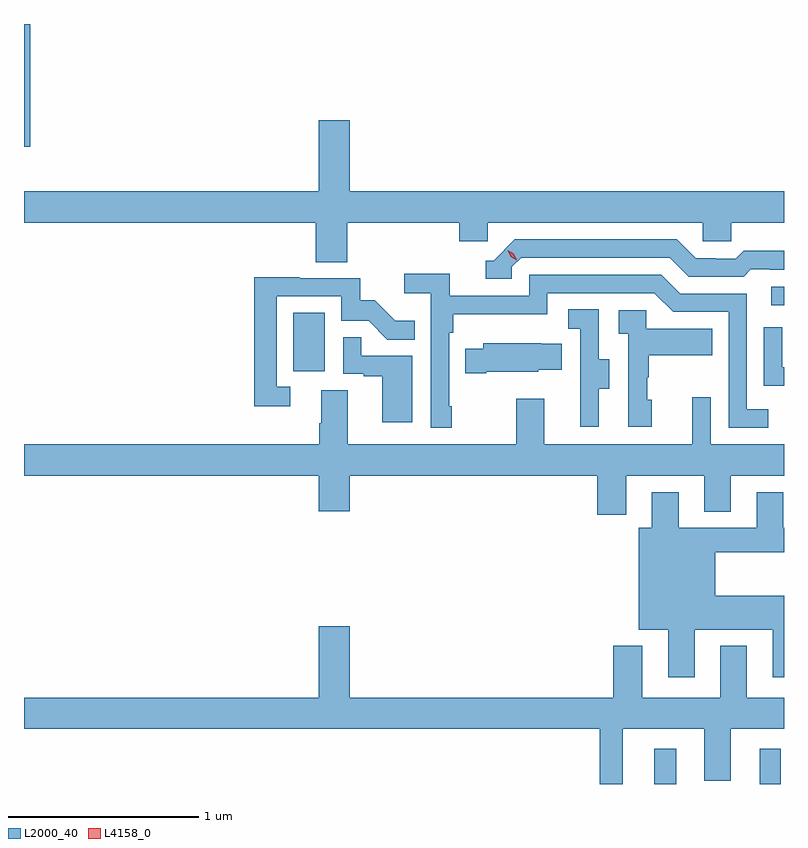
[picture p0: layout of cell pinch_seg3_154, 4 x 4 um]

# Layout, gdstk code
import gdstk
lib = gdstk.Library(unit=1e-6, precision=1e-09)
def R(c, l, rs):  # rectangles x0, y0, x1, y1
    for r in rs: c.add(gdstk.rectangle(r[:2], r[2:], *l))
def P(c, l, *ps):  # polygons
    for p in ps: c.add(gdstk.Polygon(p, *l))
L2000_40 = (2000, 40)
L4158_0 = (4158, 0)

pinch_seg3_154 = lib.new_cell('pinch_seg3_154')
R(pinch_seg3_154, L2000_40, [(1143.797,721.937,1143.913,722.122), (1144.352,721.937,1144.462,722.122), (1141.898,724.11,1142.062,724.417), (1144.413,724.458,1144.48,724.554), (1140.48,725.292,1140.514,725.937)])
P(pinch_seg3_154, L2000_40, [(1142.18,724.892),(1142.771,724.892),(1142.771,724.794),(1142.922,724.794),(1142.922,724.892),(1144.053,724.892),(1144.053,724.794),(1144.203,724.794),(1144.203,724.892),(1144.48,724.892),(1144.48,725.056),(1142.194,725.056),(1142.194,725.431),(1142.03,725.431),(1142.03,725.056),(1140.48,725.056),(1140.48,724.892),(1142.015,724.892),(1142.015,724.684),(1142.18,724.684)],
  [(1143.048,724.659),(1143.096,724.707),(1143.879,724.707),(1143.978,724.608),(1144.267,724.608),(1144.306,724.647),(1144.405,724.647),(1144.405,724.644),(1144.48,724.644),(1144.48,724.744),(1144.267,724.744),(1144.225,724.701),(1144.122,724.701),(1144.122,724.704),(1144.015,724.704),(1143.916,724.803),(1143.063,724.803),(1142.952,724.692),(1142.909,724.692),(1142.909,724.596),(1143.048,724.596)],
  [(1142.731,723.925),(1142.718,723.925),(1142.718,724.313),(1142.738,724.313),(1142.738,724.409),(1143.234,724.409),(1143.234,724.521),(1143.798,724.521),(1143.897,724.422),(1144.188,724.422),(1144.188,723.813),(1144.397,723.813),(1144.397,723.909),(1144.284,723.909),(1144.284,724.518),(1143.934,724.518),(1143.835,724.617),(1143.138,724.617),(1143.138,724.506),(1142.72,724.506),(1142.72,724.622),(1142.481,724.622),(1142.481,724.52),(1142.622,724.52),(1142.622,723.813),(1142.731,723.813)],
  [(1141.882,724.029),(1141.809,724.029),(1141.809,724.503),(1142.151,724.503),(1142.151,724.374),(1142.295,724.374),(1142.393,724.276),(1142.537,724.276),(1142.537,724.375),(1142.433,724.375),(1142.326,724.482),(1142.25,724.482),(1142.25,724.599),(1141.931,724.599),(1141.931,724.604),(1141.693,724.604),(1141.693,723.924),(1141.882,723.924)],
  [(1143.505,724.018),(1143.559,724.018),(1143.559,724.173),(1143.504,724.173),(1143.504,724.436),(1143.345,724.436),(1143.345,724.333),(1143.408,724.333),(1143.408,724.029),(1143.407,724.029),(1143.407,723.816),(1143.505,723.816)],
  [(1143.784,723.96),(1143.759,723.96),(1143.759,724.079),(1143.769,724.079),(1143.769,724.193),(1144.103,724.193),(1144.103,724.333),(1143.756,724.333),(1143.756,724.431),(1143.609,724.431),(1143.609,724.307),(1143.66,724.307),(1143.66,723.816),(1143.784,723.816)],
  [(1144.48,724.13),(1144.47,724.13),(1144.47,724.342),(1144.374,724.342),(1144.374,724.032),(1144.48,724.032)],
  [(1142.524,724.191),(1142.255,724.191),(1142.255,724.289),(1142.16,724.289),(1142.16,724.095),(1142.267,724.095),(1142.267,724.083),(1142.366,724.083),(1142.366,723.84),(1142.524,723.84)],
  [(1142.914,724.106),(1143.186,724.106),(1143.186,724.118),(1143.311,724.118),(1143.311,724.255),(1143.203,724.255),(1143.203,724.258),(1142.897,724.258),(1142.897,724.228),(1142.803,724.228),(1142.803,724.099),(1142.914,724.099)],
  [(1143.649,723.56),(1144.061,723.56),(1144.061,723.371),(1144.201,723.371),(1144.201,723.56),(1144.48,723.56),(1144.48,723.724),(1144.095,723.724),(1144.095,723.973),(1143.998,723.973),(1143.998,723.724),(1143.217,723.724),(1143.217,723.964),(1143.07,723.964),(1143.07,723.724),(1142.185,723.724),(1142.185,724.01),(1142.045,724.01),(1142.045,723.836),(1142.033,723.836),(1142.033,723.724),(1140.48,723.724),(1140.48,723.56),(1142.03,723.56),(1142.03,723.372),(1142.194,723.372),(1142.194,723.56),(1143.497,723.56),(1143.497,723.354),(1143.649,723.354)],
  [(1144.009,722.75),(1144.421,722.75),(1144.421,722.499),(1144.48,722.499),(1144.48,722.929),(1144.117,722.929),(1144.117,723.158),(1144.48,723.158),(1144.48,723.286),(1144.477,723.286),(1144.477,723.472),(1144.337,723.472),(1144.337,723.286),(1143.925,723.286),(1143.925,723.472),(1143.785,723.472),(1143.785,723.286),(1143.716,723.286),(1143.716,722.75),(1143.872,722.75),(1143.872,722.499),(1144.009,722.499)],
  [(1143.631,722.228),(1144.061,722.228),(1144.061,721.955),(1144.201,721.955),(1144.201,722.228),(1144.48,722.228),(1144.48,722.392),(1144.285,722.392),(1144.285,722.665),(1144.145,722.665),(1144.145,722.392),(1143.733,722.392),(1143.733,722.665),(1143.581,722.665),(1143.581,722.392),(1142.194,722.392),(1142.194,722.767),(1142.03,722.767),(1142.03,722.392),(1140.48,722.392),(1140.48,722.228),(1143.51,722.228),(1143.51,721.937),(1143.631,721.937)])
P(pinch_seg3_154, L4158_0, [(1143.073,724.694),(1143.042,724.713),(1143.026,724.746),(1143.026,724.746),(1143.026,724.746),(1143.057,724.727),(1143.073,724.695),(1143.073,724.694)])

lib.write_gds('pinch_seg3_154.gds')
